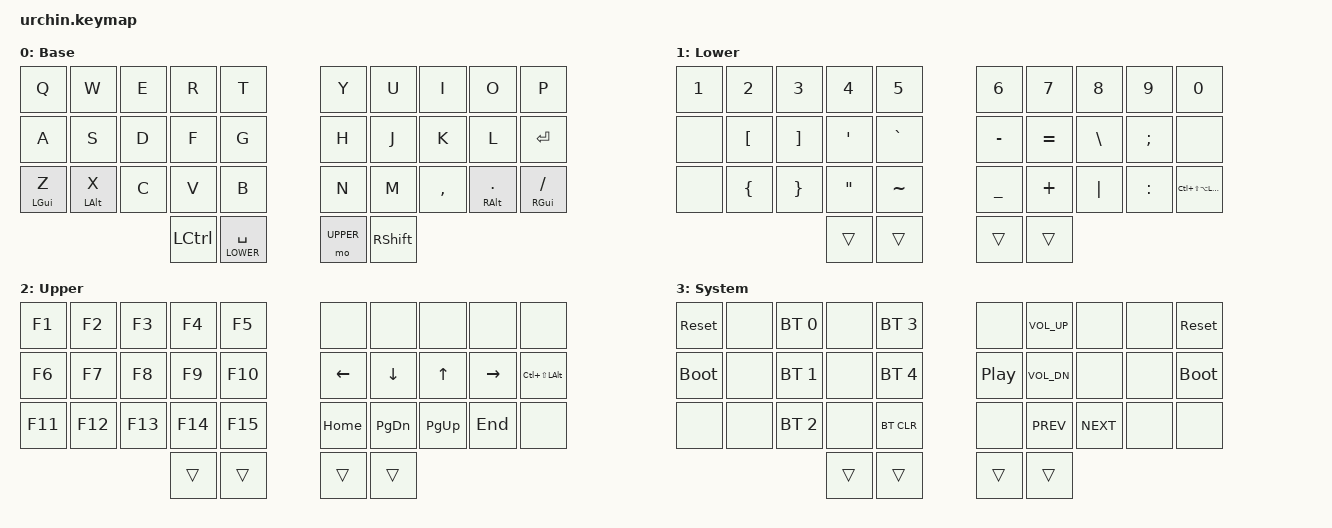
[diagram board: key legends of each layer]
/*
 * Copyright (c) 2020 duckyb
 *
 * SPDX-License-Identifier: MIT
 */
 
// Author: Ryan H.
// Filename: urchin.keymap
// Keymap settings for an Urchin.

#include <behaviors.dtsi>
#include <dt-bindings/zmk/keys.h>
#include <dt-bindings/zmk/bt.h>
#include <dt-bindings/zmk/outputs.h>

// Define layers as numbers
#define BASE 0
#define LOWER 1
#define UPPER 2
#define SYSTEM 3

// Macros:
#define meh LC(LS(LALT))
#define hyper LC(LS(LA(LGUI)))

#define COMBO(NAME, BINDINGS, KEYPOS, LAYERS, TERM) \
        combo_##NAME { \
            timeout-ms = <TERM>; \
            bindings = <BINDINGS>; \
            key-positions = <KEYPOS>; \
            layers = <LAYERS>; \
        };

&lt {
    tapping-term-ms = <150>;
};

&mt {
    tapping-term-ms = <150>;
};

/ {
    behaviors {
        hm: homerow_mods {
            compatible = "zmk,behavior-hold-tap";
            label = "HOMEROW_MODS";
            #binding-cells = <2>;
            tapping-term-ms = <200>;
            quick-tap-ms = <0>;
            flavor = "tap-preferred";
            bindings = <&kp>, <&kp>;
        };
    };

/*                KEY POSITIONS
  ╭────────────────────╮ ╭────────────────────╮
  │  0   1   2   3   4 │ │  5   6   7   8   9 │
  │ 10  11  12  13  14 │ │ 15  16  17  18  19 │
  │ 20  21  22  23  24 │ │ 25  26  27  28  29 │
  ╰───────────╮ 30  31 │ │ 32  33 ╭───────────╯
              ╰────────╯ ╰────────╯            */

    combos {
        compatible = "zmk,combos";
        COMBO(bspc,  &kp BSPC,  6 7,   BASE, 40)
        COMBO(del,   &kp DEL,   7 8,   BASE, 40)
        COMBO(esc,   &kp ESC,   0 10,  BASE, 40)
        COMBO(pscrn, &kp PSCRN, 10 20, BASE, 40)
        COMBO(tab,   &kp TAB,   12 13, BASE, 40)
    };

    conditional_layers {
        compatible = "zmk,conditional-layers";
        tri_layer {
            if-layers = <LOWER UPPER>;
            then-layer = <SYSTEM>;
        };
    };

    macros {
        dw: delete_word {
            label = "DELETE_WORD";
            compatible = "zmk,behavior-macro";
            #binding-cells = <0>;
            bindings
                = <&macro_press &kp LCTRL>
                , <&macro_tap &kp BSPC>
                , <&macro_release &kp LCTRL>
                ;
        };
    };

    keymap {
        compatible = "zmk,keymap";
        default_layer {
            label ="Base";
            bindings = <
        //╭──────────┬──────────┬──────────┬──────────┬──────────╮   ╭──────────┬──────────┬──────────┬──────────┬──────────╮
        //│  Q       │  W       │  E       │  R       │  T       │   │  Y       │  U       │  I       │  O       │  P       │
           &kp Q      &kp W      &kp E      &kp R      &kp T          &kp Y      &kp U      &kp I      &kp O      &kp P
        //├──────────┼──────────┼──────────┼──────────┼──────────┤   ├──────────┼──────────┼──────────┼──────────┼──────────┤
        //│  A       │  S       │  D       │  F       │  G       │   │  H       │  J       │  K       │  L       │  ENTER   │
           &kp A      &kp S      &kp D      &kp F      &kp G          &kp H      &kp J      &kp K      &kp L      &kp ENTER
        //├──────────┼──────────┼──────────┼──────────┼──────────┤   ├──────────┼──────────┼──────────┼──────────┼──────────┤
        //│  LGUI Z  │  LALT X  │  C       │  V       │  B       │   │  N       │  M       │ , <      │ RALT . > │ RGUI / ? │
           &hm LGUI Z &hm LALT X &kp C      &kp V      &kp B          &kp N      &kp M      &kp COMMA  &hm RALT DOT &hm RGUI FSLH
        //╰──────────┴──────────┴──────────┼──────────┼──────────┤   ├──────────┼──────────┼──────────┴──────────┴──────────╯
                                            &kp LCTRL &lt LOWER SPACE &mo UPPER  &kp RSHFT
        //                                 ╰──────────┴──────────╯   ╰──────────┴──────────╯
            >;
        };

        lower_layer {
            label = "Lower";
            bindings = <
        //╭──────────┬──────────┬──────────┬──────────┬──────────╮   ╭──────────┬──────────┬──────────┬──────────┬──────────╮
        //│  1 !     │  2 @     │  3 #     │  4 $     │  5 %     │   │  6 ^     │  7 &     │  8 *     │  9 (     │  0 )     │
           &kp N1     &kp N2     &kp N3     &kp N4     &kp N5         &kp N6     &kp N7     &kp N8     &kp N9     &kp N0
        //├──────────┼──────────┼──────────┼──────────┼──────────┤   ├──────────┼──────────┼──────────┼──────────┼──────────┤
        //│          │  [       │  ]       │  '       │  `       │   │  -       │  =       │  \       │  ;       │          │
           &none      &kp LBKT   &kp RBKT   &kp SQT    &kp GRAVE      &kp MINUS  &kp EQUAL  &kp BSLH   &kp SEMI   &none
        //├──────────┼──────────┼──────────┼──────────┼──────────┤   ├──────────┼──────────┼──────────┼──────────┼──────────┤
        //│          │  {       │  }       │  "       │  ~       │   │  _       │  +       │  |       │  :       │  hyper   │
           &none      &kp LBRC   &kp RBRC   &kp DQT    &kp TILDE      &kp UNDER  &kp PLUS   &kp PIPE   &kp COLON  &kp hyper
        //╰──────────┴──────────┴──────────┼──────────┼──────────┤   ├──────────┼──────────┼──────────┴──────────┴──────────╯
                                             &trans     &trans        &trans     &trans
        //                                 ╰──────────┴──────────╯   ╰──────────┴──────────╯
            >;
        };

        upper_layer {
            label = "Upper";
            bindings = <
        //╭──────────┬──────────┬──────────┬──────────┬──────────╮   ╭──────────┬──────────┬──────────┬──────────┬──────────╮
        //│  F1      │  F2      │  F3      │  F4      │  F5      │   │          │          │          │          │          │
           &kp F1     &kp F2     &kp F3     &kp F4     &kp F5         &none      &none      &none      &none      &none
        //├──────────┼──────────┼──────────┼──────────┼──────────┤   ├──────────┼──────────┼──────────┼──────────┼──────────┤
        //│  F6      │  F7      │  F8      │  F9      │  F10     │   │  LEFT    │  DOWN    │  UP      │  RIGHT   │  meh     │
           &kp F6     &kp F7     &kp F8     &kp F9     &kp F10        &kp LEFT   &kp DOWN   &kp UP     &kp RIGHT  &kp meh
        //├──────────┼──────────┼──────────┼──────────┼──────────┤   ├──────────┼──────────┼──────────┼──────────┼──────────┤
        //│  F11     │  F12     │  F13     │  F14     │  F15     │   │  HOME    │  PG DOWN │  PG UP   │  END     │          │
           &kp F11    &kp F12    &kp F13    &kp F14    &kp F15        &kp HOME   &kp PG_DN  &kp PG_UP  &kp END    &none
        //╰──────────┴──────────┴──────────┼──────────┼──────────┤   ├──────────┼──────────┼──────────┴──────────┴──────────╯
                                      		&trans     &trans         &trans     &trans
        //                                 ╰──────────┴──────────╯   ╰──────────┴──────────╯
            >;
        };

        system_layer {
            label = "System";
            bindings = <
        //╭──────────┬──────────┬──────────┬──────────┬──────────╮   ╭──────────┬──────────┬──────────┬──────────┬──────────╮
        //│ RESET    │          │PROFILE 0 │          │PROFILE 3 │              │  VOL UP  │          │          │  RESET   │
           &sys_reset &none     &bt BT_SEL 0  &none   &bt BT_SEL 3    &none      &kp C_VOL_UP &none    &none      &sys_reset
        //├──────────┼──────────┼──────────┼──────────┼──────────┤   ├──────────┼──────────┼──────────┼──────────┼──────────┤
        //│BOOTLOADER│          │PROFILE 1 │          │PROFILE 4 │   │  PP      │  VOL DN  │          │          │BOOTLOADER│
          &bootloader &none     &bt BT_SEL 1  &none   &bt BT_SEL 4    &kp C_PP   &kp C_VOL_DN &none    &none      &bootloader
        //├──────────┼──────────┼──────────┼──────────┼──────────┤   ├──────────┼──────────┼──────────┼──────────┼──────────┤
        //│          │          │PROFILE 2 │          │ CLEAR BT │   │          │  PREV    │  NEXT    │          │          │
           &none      &none     &bt BT_SEL 2  &none   &bt BT_CLR      &none      &kp C_PREV &kp C_NEXT &none      &none
        //╰──────────┴──────────┴──────────┼──────────┼──────────┤   ├──────────┼──────────┼──────────┴──────────┴──────────╯
                                             &trans     &trans         &trans     &trans
        //                                 ╰──────────┴──────────╯   ╰──────────┴──────────╯
            >;
        };
    };
};
